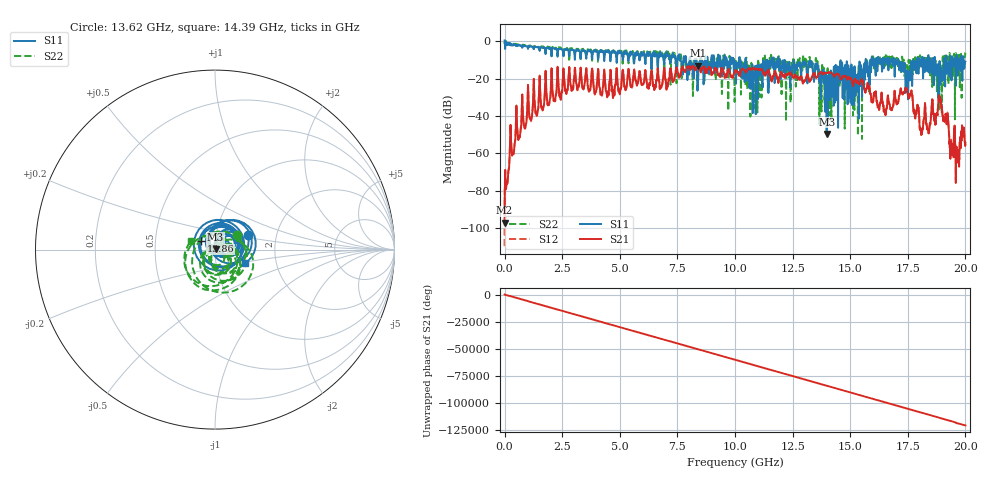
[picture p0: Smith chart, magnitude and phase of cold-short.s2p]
! MS46122B
! 2250307/22442219
! 2/18/2026 9:13:37 AM
! C:\USERS\SPARKY\DOCUMENTS\VNA_DATA\FEB18_2026\COLD-SHORT.S2P
! CHANNEL.1
! TR.MEASUREMENT
! RAW.DATA
# GHZ S RI R 50.0
! FREQ.GHZ  S11RE  S11IM  S21RE  S21IM  S12RE  S12IM  S22RE  S22IM
!; PortSelection: Port_12
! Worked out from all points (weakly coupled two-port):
!   10001 points, 1 MHz to 20 GHz, reference 50 ohm
!   highest |S21| = -13.11 dB at 8.391 GHz (marker M1); lowest = -97.0 dB at 1 MHz (marker M2)
!   lowest |S11| = -49.7 dB at 13.98 GHz (marker M3), VSWR 1.01, Z = 50.3 + j0.153 ohm
!   |S11| at or under -10 dB: 10.47 GHz to 11.39 GHz (919.3 MHz wide, 8.41 % of centre); 11.95 GHz to 15.67 GHz (3.714 GHz wide, 26.9 % of centre); 17.09 GHz to 17.73 GHz (637.3 MHz wide, 3.66 % of centre) (the widest 3 of 74)
!   |S22| runs from -52.3 to 0.3 dB; largest |S21 - S12| = 0.022
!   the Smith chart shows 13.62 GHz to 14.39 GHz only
!   S11 on the Smith chart (normalised r, x): 13.62 GHz: 1.43, +0.24; 13.86 GHz: 0.85, +0.08; 14.39 GHz: 1.38, -0.22
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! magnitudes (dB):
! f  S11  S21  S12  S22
! 1 MHz  0.4  -97.0  -109.6  -0.2
! 483 MHz  -2.4  -47.4  -47.2  -1.8
! 1.011 GHz  -3.7  -25.6  -25.3  -3.6
! 3.335 GHz  -5.6  -19.6  -20.0  -4.4
! 6.669 GHz  -9.1  -17.2  -17.4  -8.4
! 8.391 GHz  -20.0  -13.1  -13.3  -23.2
! 10 GHz  -10.6  -15.9  -16.0  -16.3
! 10.85 GHz  -15.4  -14.7  -15.3  -16.7
! 11.59 GHz  -9.5  -21.4  -20.5  -9.4
! 13.33 GHz  -13.1  -19.2  -19.5  -14.6
! 13.62 GHz  -13.9  -17.7  -17.7  -16.8
! 13.86 GHz  -20.6  -17.6  -17.3  -14.7
! 13.98 GHz  -49.7  -16.9  -16.9  -30.1
! 14.39 GHz  -14.8  -17.7  -17.8  -17.0
! 15.24 GHz  -17.9  -20.7  -20.6  -27.9
! 15.94 GHz  -8.3  -32.3  -32.4  -9.5
! 16.67 GHz  -13.1  -32.6  -32.7  -11.7
! 17.42 GHz  -20.7  -25.0  -25.1  -25.7
! 18.1 GHz  -11.5  -49.1  -49.2  -10.0
! 18.89 GHz  -12.6  -30.5  -30.6  -16.2
! 19.39 GHz  -20.8  -57.5  -57.9  -8.8
! 20 GHz  -10.9  -54.3  -54.9  -6.1
